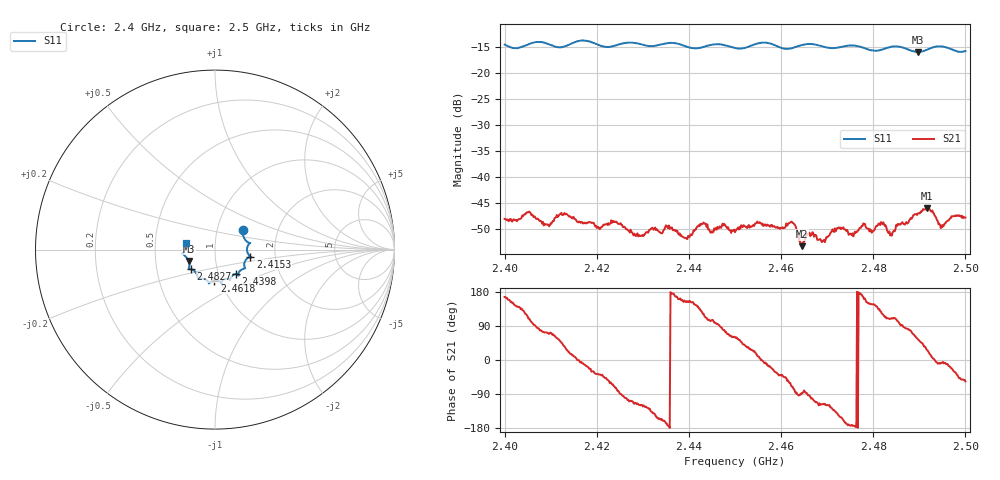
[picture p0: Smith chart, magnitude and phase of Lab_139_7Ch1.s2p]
# Hz S RI R 50
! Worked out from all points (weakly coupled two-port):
!   601 points, 2.4 GHz to 2.5 GHz, reference 50 ohm
!   highest |S21| = -45.90 dB at 2.4917 GHz (marker M1); lowest = -53.3 dB at 2.4645 GHz (marker M2)
!   lowest |S11| = -15.9 dB at 2.4897 GHz (marker M3), VSWR 1.38, Z = 36.9 - j4.83 ohm
!   |S11| at or under -10 dB: start of sweep to end of sweep
!   S12 and S22 are empty: the file has one direction only
!   S11 on the Smith chart (normalised r, x): 2.4 GHz: 1.33, +0.30; 2.4153 GHz: 1.48, -0.12; 2.4398 GHz: 1.21, -0.34; 2.4618 GHz: 0.94, -0.33; 2.4827 GHz: 0.75, -0.17; 2.5 GHz: 0.72, +0.06
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2.4e9  0.1554 0.1072  -0.00386 0.000943  0 0  0 0
2.405167e9  0.1861 0.0392  -0.00154 0.00433  0 0  0 0
2.409333e9  0.1898 0.0321  0.00109 0.00335  0 0  0 0
2.4125e9  0.1786 -0.00757  0.00314 0.00299  0 0  0 0
2.415333e9  0.1961 -0.039  0.00391 0.000527  0 0  0 0
2.416667e9  0.2022 -0.0428  0.0037 -0.00034  0 0  0 0
2.433333e9  0.1305 -0.1335  -0.00273 -0.00138  0 0  0 0
2.439833e9  0.1156 -0.1359  -0.00247 0.00117  0 0  0 0
2.443e9  0.0892 -0.1547  -0.0019 0.00302  0 0  0 0
2.45e9  0.0654 -0.1626  0.00148 0.00257  0 0  0 0
2.461833e9  -0.00295 -0.1725  0.00179 -0.00316  0 0  0 0
2.4645e9  -0.0305 -0.1847  0.000118 -0.00217  0 0  0 0
2.466667e9  -0.0344 -0.1883  -0.000528 -0.00275  0 0  0 0
2.469167e9  -0.0407 -0.1759  -0.00106 -0.0022  0 0  0 0
2.472667e9  -0.0772 -0.1603  -0.00279 -0.00168  0 0  0 0
2.475167e9  -0.0932 -0.16  -0.00282 -0.000332  0 0  0 0
2.482667e9  -0.135 -0.1091  -0.00143 0.00314  0 0  0 0
2.483333e9  -0.1402 -0.1086  -0.000972 0.00273  0 0  0 0
2.489667e9  -0.1467 -0.0636  0.00258 0.00368  0 0  0 0
2.491667e9  -0.1644 -0.0376  0.00454 0.00225  0 0  0 0
2.494833e9  -0.1803 -0.0202  0.00342 -0.000487  0 0  0 0
2.5e9  -0.1589 0.0388  0.00227 -0.0034  0 0  0 0
